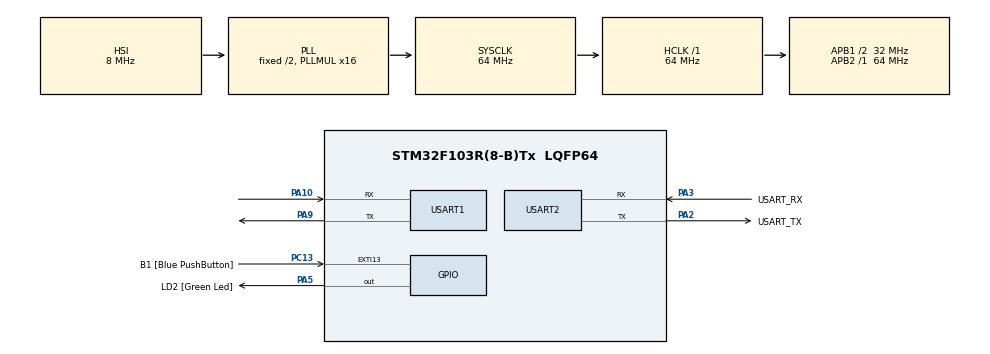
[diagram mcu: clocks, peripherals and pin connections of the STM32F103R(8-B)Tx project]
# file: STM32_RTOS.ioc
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FREERTOS.Tasks01=defaultTask,24,128,StartDefaultTask,Default,NULL,Dynamic,NULL,NULL
FREERTOS.configUSE_NEWLIB_REENTRANT=1
Mcu.Family=STM32F1
Mcu.Name=STM32F103R(8-B)Tx
Mcu.Package=LQFP64
NVIC.EXTI15_10_IRQn=true\:5\:0\:false\:false\:true\:true\:true\:true\:true
NVIC.PriorityGroup=NVIC_PRIORITYGROUP_4
NVIC.TIM4_IRQn=true\:15\:0\:false\:false\:true\:false\:false\:true\:true
NVIC.TimeBase=TIM4_IRQn
NVIC.TimeBaseIP=TIM4
NVIC.USART1_IRQn=true\:5\:0\:false\:false\:true\:true\:true\:true\:true
PA10.Mode=Asynchronous
PA10.Signal=USART1_RX
PA13.GPIO_Label=TMS
PA13.Mode=Serial_Wire
PA13.Signal=SYS_JTMS-SWDIO
PA14.GPIO_Label=TCK
PA14.Mode=Serial_Wire
PA14.Signal=SYS_JTCK-SWCLK
PA2.GPIO_Label=USART_TX
PA2.GPIO_Mode=GPIO_MODE_AF_PP
PA2.GPIO_PuPd=GPIO_NOPULL
PA2.GPIO_Speed=GPIO_SPEED_FREQ_LOW
PA2.Mode=Asynchronous
PA2.Signal=USART2_TX
PA3.GPIO_Label=USART_RX
PA3.GPIO_Mode=GPIO_MODE_AF_PP
PA3.GPIO_PuPd=GPIO_NOPULL
PA3.GPIO_Speed=GPIO_SPEED_FREQ_LOW
PA3.Mode=Asynchronous
PA3.Signal=USART2_RX
PA5.GPIO_Label=LD2 [Green Led]
PA5.GPIO_ModeDefaultOutputPP=GPIO_MODE_OUTPUT_PP
PA5.GPIO_PuPd=GPIO_NOPULL
PA5.GPIO_Speed=GPIO_SPEED_FREQ_LOW
PA5.Signal=GPIO_Output
PA9.Mode=Asynchronous
PA9.Signal=USART1_TX
PB3.GPIO_Label=SWO
PB3.Signal=SYS_JTDO-TRACESWO
PC13-TAMPER-RTC.GPIO_Label=B1 [Blue PushButton]
PC13-TAMPER-RTC.GPIO_PuPd=GPIO_NOPULL
PC13-TAMPER-RTC.Signal=GPXTI13
PC14-OSC32_IN.Mode=LSE-External-Oscillator
PC14-OSC32_IN.Signal=RCC_OSC32_IN
PC15-OSC32_OUT.Mode=LSE-External-Oscillator
PC15-OSC32_OUT.Signal=RCC_OSC32_OUT
PD0-OSC_IN.Mode=HSE-External-Clock-Source
PD0-OSC_IN.Signal=RCC_OSC_IN
PD1-OSC_OUT.Mode=HSE-External-Clock-Source
PD1-OSC_OUT.Signal=RCC_OSC_OUT
ProjectManager.HeapSize=0x200
ProjectManager.StackSize=0x400
ProjectManager.TargetToolchain=STM32CubeIDE
RCC.AHBFreq_Value=64000000
RCC.APB1CLKDivider=RCC_HCLK_DIV2
RCC.APB1Freq_Value=32000000
RCC.APB1TimFreq_Value=64000000
RCC.APB2Freq_Value=64000000
RCC.APB2TimFreq_Value=64000000
RCC.HCLKFreq_Value=64000000
RCC.PLLMUL=RCC_PLL_MUL16
RCC.RTCClockSelection=RCC_RTCCLKSOURCE_LSE
RCC.SYSCLKFreq_VALUE=64000000
RCC.SYSCLKSource=RCC_SYSCLKSOURCE_PLLCLK
RCC.USBFreq_Value=64000000
USART1.VirtualMode=VM_ASYNC
USART2.VirtualMode=VM_ASYNC
VP_FREERTOS_VS_CMSIS_V2.Mode=CMSIS_V2
VP_SYS_VS_tim4.Mode=TIM4
board=NUCLEO-F103RB

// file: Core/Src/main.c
/* USER CODE BEGIN Header */
/**
  ******************************************************************************
  * @file           : main.c
  * @brief          : Main program body
  ******************************************************************************
  * @attention
  *
  * Copyright (c) 2022 STMicroelectronics.
  * All rights reserved.
  *
  * This software is licensed under terms that can be found in the LICENSE file
  * in the root directory of this software component.
  * If no LICENSE file comes with this software, it is provided AS-IS.
  *
  ******************************************************************************
  */
/* USER CODE END Header */
#include "main.h"
#include "cmsis_os.h"

/* USER CODE BEGIN PTD */
#define BUFF_SIZE 1024

typedef struct ringbuffer{
uint_8t buffer[BUFF_SIZE];
uint_8t temp;//read data in rx port
uint_8t rxd;//read data in buff
volatile uint16_t write_idx;
volatile uint16_t read_idx;
}rb;
/* USER CODE END PTD */

UART_HandleTypeDef huart1;
UART_HandleTypeDef huart2;

/* Definitions for defaultTask */
osThreadId_t motorTaskHandle;
const osThreadAttr_t motorTask_attributes = {
  .name = "motor Task",
  .stack_size = 128 * 4,
  .priority = (osPriority_t) osPriorityNormal,
};
osThreadId_t rxTaskHandle;
const osThreadAttr_t rxTask_attributes = {
  .name = "receive Task",
  .stack_size = 128 * 4,
  .priority = (osPriority_t) osPriorityNormal,
};

void SystemClock_Config(void);
static void MX_GPIO_Init(void);
static void MX_USART2_UART_Init(void);
static void MX_USART1_UART_Init(void);
void motorTask(void *argument);
void rxTask(void *argument);

int main(void)
{

  /* MCU Configuration--------------------------------------------------------*/

  /* Reset of all peripherals, Initializes the Flash interface and the Systick. */
  HAL_Init();

  /* Configure the system clock */
  SystemClock_Config();

  /* Initialize all configured peripherals */
  MX_GPIO_Init();
  MX_USART2_UART_Init();
  MX_USART1_UART_Init();
  rb data;
  data.read_idx = 0;
  data.write_idx = 0;

  /* Init scheduler */
  osKernelInitialize();

  /* Create the thread(s) */
  /* creation of defaultTask */
  motorTaskHandle = osThreadNew(motorTask, NULL, &motorTask_attributes);
  rxTaskHandle = osThreadNew(rxTask, NULL, &rxTask_attributes);
  HAL_UART_Receive_IT(&huart1, &data.temp, 1);

  /* Start scheduler */
  osKernelStart();

  /* We should never get here as control is now taken by the scheduler */
  /* Infinite loop */
  while (1)
  {
	  HAL_UART_Receive_IT(&huart1, &data.temp, 1); //this position wrong??
  }
}

void USART1_IRQHaldler(void)
{
	HAL_UART_IRQHandler(&huart1);
}
void HAL_UART_RxCpltCallback(UART_HandleTypeDef *huart)
{
	if(huart->Instance == USART1)
	{
		data.buffer[data.write_idx++] = data.temp;
		if(data.write_idx >= BUFF_SIZE)
		{
			data.write_idx = 0;
		}
		HAL_UART_Receive_IT(&huart1, &data.temp, 1);
	}
}

void SystemClock_Config(void)
{
  RCC_OscInitTypeDef RCC_OscInitStruct = {0};
  RCC_ClkInitTypeDef RCC_ClkInitStruct = {0};

  /** Initializes the RCC Oscillators according to the specified parameters
  * in the RCC_OscInitTypeDef structure.
  */
  RCC_OscInitStruct.OscillatorType = RCC_OSCILLATORTYPE_HSI;
  RCC_OscInitStruct.HSIState = RCC_HSI_ON;
  RCC_OscInitStruct.HSICalibrationValue = RCC_HSICALIBRATION_DEFAULT;
  RCC_OscInitStruct.PLL.PLLState = RCC_PLL_ON;
  RCC_OscInitStruct.PLL.PLLSource = RCC_PLLSOURCE_HSI_DIV2;
  RCC_OscInitStruct.PLL.PLLMUL = RCC_PLL_MUL16;
  if (HAL_RCC_OscConfig(&RCC_OscInitStruct) != HAL_OK)
  {
    Error_Handler();
  }

  /** Initializes the CPU, AHB and APB buses clocks
  */
  RCC_ClkInitStruct.ClockType = RCC_CLOCKTYPE_HCLK|RCC_CLOCKTYPE_SYSCLK
                              |RCC_CLOCKTYPE_PCLK1|RCC_CLOCKTYPE_PCLK2;
  RCC_ClkInitStruct.SYSCLKSource = RCC_SYSCLKSOURCE_PLLCLK;
  RCC_ClkInitStruct.AHBCLKDivider = RCC_SYSCLK_DIV1;
  RCC_ClkInitStruct.APB1CLKDivider = RCC_HCLK_DIV2;
  RCC_ClkInitStruct.APB2CLKDivider = RCC_HCLK_DIV1;

  if (HAL_RCC_ClockConfig(&RCC_ClkInitStruct, FLASH_LATENCY_2) != HAL_OK)
  {
    Error_Handler();
  }
}

static void MX_USART1_UART_Init(void)
{

  huart1.Instance = USART1;
  huart1.Init.BaudRate = 115200;
  huart1.Init.WordLength = UART_WORDLENGTH_8B;
  huart1.Init.StopBits = UART_STOPBITS_1;
  huart1.Init.Parity = UART_PARITY_NONE;
  huart1.Init.Mode = UART_MODE_TX_RX;
  huart1.Init.HwFlowCtl = UART_HWCONTROL_NONE;
  huart1.Init.OverSampling = UART_OVERSAMPLING_16;
  if (HAL_UART_Init(&huart1) != HAL_OK)
  {
    Error_Handler();
  }

}

static void MX_USART2_UART_Init(void)
{

  huart2.Instance = USART2;
  huart2.Init.BaudRate = 115200;
  huart2.Init.WordLength = UART_WORDLENGTH_8B;
  huart2.Init.StopBits = UART_STOPBITS_1;
  huart2.Init.Parity = UART_PARITY_NONE;
  huart2.Init.Mode = UART_MODE_TX_RX;
  huart2.Init.HwFlowCtl = UART_HWCONTROL_NONE;
  huart2.Init.OverSampling = UART_OVERSAMPLING_16;
  if (HAL_UART_Init(&huart2) != HAL_OK)
  {
    Error_Handler();
  }

}

static void MX_GPIO_Init(void)
{
  GPIO_InitTypeDef GPIO_InitStruct = {0};

  /* GPIO Ports Clock Enable */
  __HAL_RCC_GPIOC_CLK_ENABLE();
  __HAL_RCC_GPIOD_CLK_ENABLE();
  __HAL_RCC_GPIOA_CLK_ENABLE();
  __HAL_RCC_GPIOB_CLK_ENABLE();

  /*Configure GPIO pin Output Level */
  HAL_GPIO_WritePin(LD2_GPIO_Port, LD2_Pin, GPIO_PIN_RESET);

  /*Configure GPIO pin : B1_Pin */
  GPIO_InitStruct.Pin = B1_Pin;
  GPIO_InitStruct.Mode = GPIO_MODE_IT_RISING;
  GPIO_InitStruct.Pull = GPIO_NOPULL;
  HAL_GPIO_Init(B1_GPIO_Port, &GPIO_InitStruct);

  /*Configure GPIO pin : LD2_Pin */
  GPIO_InitStruct.Pin = LD2_Pin;
  GPIO_InitStruct.Mode = GPIO_MODE_OUTPUT_PP;
  GPIO_InitStruct.Pull = GPIO_NOPULL;
  GPIO_InitStruct.Speed = GPIO_SPEED_FREQ_LOW;
  HAL_GPIO_Init(LD2_GPIO_Port, &GPIO_InitStruct);

  /* EXTI interrupt init*/
  HAL_NVIC_SetPriority(EXTI15_10_IRQn, 5, 0);
  HAL_NVIC_EnableIRQ(EXTI15_10_IRQn);

}

/* USER CODE BEGIN 4 */
void moter_control(void)//if rtos >> motor_control == motorTask
{
	uint8_t moter_mode = data.buffer[data.read_idx++];
	if(data.read_idx >= BUFF_SIZE)
		{
		data.read_idx = 0;
		}
	if(moter_mode == '1')
		{
		//high active
		}
	else if(moter_mode == '2')
		{
		//low active
		}
	else if(moter_mode == '3')
		{
			//forward
		}
	else if(moter_mode == '4')
		{
			//backward
		}
	else if(moter_mode == '5')
		{
			//left turn
		}
	else if(moter_mode == '6')
		{
			//right turn
		}
	else if(moter_mode == '0')
		{
			//break
		}
}
/* USER CODE END 4 */

void motorTask(void *argument)
{
  /* USER CODE BEGIN 5 */
  /* Infinite loop */
  for(;;)
  {
	motor_control();
    osDelay(1);//every 1ms
  }
  /* USER CODE END 5 */
}

void rxTask(void *argument)
{
  for(;;)
  {
    osDelay(1);
  }
}

void HAL_TIM_PeriodElapsedCallback(TIM_HandleTypeDef *htim)
{
  if (htim->Instance == TIM4) {
    HAL_IncTick();
  }
}

void Error_Handler(void)
{
  __disable_irq();
  while (1)
  {
  }
}
